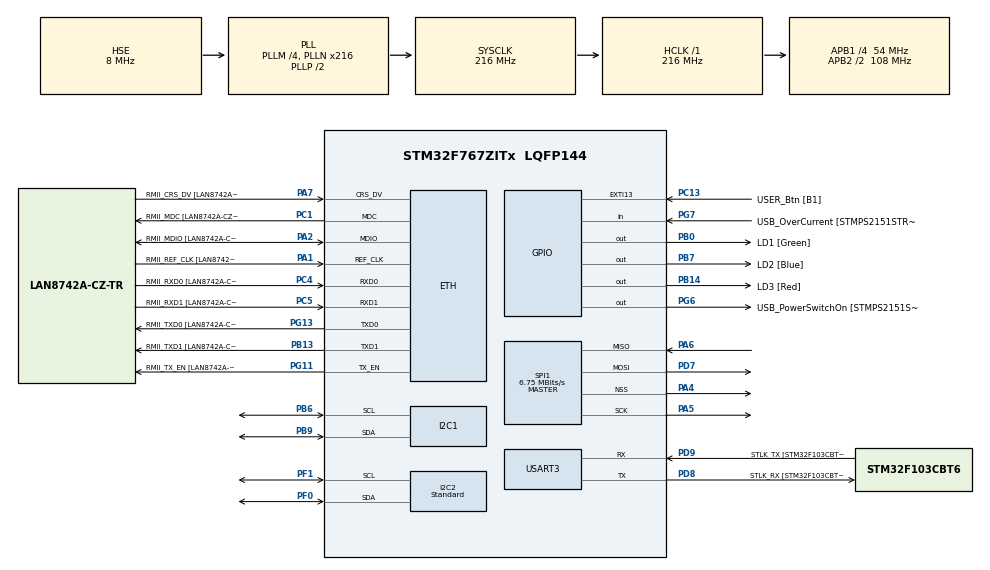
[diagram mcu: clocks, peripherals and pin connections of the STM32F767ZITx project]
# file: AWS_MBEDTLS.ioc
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PD7.Mode=Full_Duplex_Master
VP_MBEDTLS_VS_MBEDTLS.Mode=Enabled
SPI1.VirtualType=VM_MASTER
PB14.GPIO_Label=LD3 [Red]
PG6.GPIO_Label=USB_PowerSwitchOn [STMPS2151STR_EN]
PA14.GPIO_Label=TCK
PC5.Mode=RMII
PB13.Signal=ETH_TXD1
PG13.Signal=ETH_TXD0
RCC.SYSCLKSource=RCC_SYSCLKSOURCE_PLLCLK
LWIP.LWIP_HTTPD=1
USART3.VirtualMode-Asynchronous=VM_ASYNC
PA4.Mode=NSS_Signal_Hard_Output
SPI1.Direction=SPI_DIRECTION_2LINES
I2C2.I2C_Speed_Mode=I2C_Standard
RCC.APB2TimFreq_Value=216000000
PB6.Signal=I2C1_SCL
PH1/OSC_OUT.Signal=RCC_OSC_OUT
PB6.Mode=I2C
SPI1.CalculateBaudRate=6.75 MBits/s
PD8.Signal=USART3_TX
PC4.GPIO_Label=RMII_RXD0 [LAN8742A-CZ-TR_RXD0]
SPI1.DataSize=SPI_DATASIZE_8BIT
PA8.Signal=USB_OTG_FS_SOF
SPI1.VirtualNSS=VM_NSSHARD
ETH.PHY_Name=LAN8742A_PHY_ADDRESS
VP_FREERTOS_VS_CMSIS_V1.Mode=CMSIS_V1
Mcu.Package=LQFP144
PB9.Signal=I2C1_SDA
NVIC.TimeBase=TIM4_IRQn
NVIC.TimeBaseIP=TIM4
PA10.Signal=USB_OTG_FS_ID
RCC.APB2CLKDivider=RCC_HCLK_DIV2
RCC.APB1TimFreq_Value=108000000
PB13.Mode=RMII
PC4.Mode=RMII
PA5.Mode=Full_Duplex_Master
FREERTOS.Tasks01=defaultTask,0,128,StartDefaultTask,Default,NULL,Dynamic,NULL,NULL
PD9.GPIO_Label=STLK_TX [STM32F103CBT6_PA2]
PC13.Signal=GPXTI13
PA9.GPIO_Label=USB_VBUS
PD7.Signal=SPI1_MOSI
PA11.GPIO_Label=USB_DM
RCC.APB1CLKDivider=RCC_HCLK_DIV4
PG13.GPIO_Label=RMII_TXD0 [LAN8742A-CZ-TR_TXD0]
PF1.Mode=I2C
PA8.GPIO_Label=USB_SOF [TP1]
PA9.Signal=USB_OTG_FS_VBUS
I2C1.Timing=0x20404768
PD8.Mode=Asynchronous
PB14.Signal=GPIO_Output
PA5.Signal=SPI1_SCK
PA1.Mode=RMII
RCC.PRESCALERUSB=RCC_USBCLKSOURCE_PLL_DIV1_5
SPI1.Mode=SPI_MODE_MASTER
PG7.GPIO_Label=USB_OverCurrent [STMPS2151STR_FAULT]
PA1.GPIO_Label=RMII_REF_CLK [LAN8742A-CZ-TR_REFCLK0]
PA13.Mode=Serial_Wire
PA4.Signal=SPI1_NSS
ETH.MediaInterface=ETH_MEDIA_INTERFACE_RMII
PG11.Mode=RMII
PA11.Signal=USB_OTG_FS_DM
ProjectManager.HeapSize=0x1000
LWIP.Version=v2.1.2_Cube
VP_SYS_VS_tim4.Mode=TIM4
NVIC.PriorityGroup=NVIC_PRIORITYGROUP_4
PC15/OSC32_OUT.Signal=RCC_OSC32_OUT
PB0.Signal=GPIO_Output
PC1.Signal=ETH_MDC
PC1.Mode=RMII
Mcu.Family=STM32F7
PA6.Mode=Full_Duplex_Master
RCC.CortexFreq_Value=216000000
PG6.Signal=GPIO_Output
RCC.SYSCLKSourceVirtual=RCC_SYSCLKSOURCE_PLLCLK
I2C2.Timing=0x20404768
PB0.GPIO_Label=LD1 [Green]
PC14/OSC32_IN.Mode=LSE-External-Oscillator
PC13.GPIO_Label=USER_Btn [B1]
PB13.GPIO_Label=RMII_TXD1 [LAN8742A-CZ-TR_TXD1]
PD9.Mode=Asynchronous
PG11.Signal=ETH_TX_EN
ProjectManager.StackSize=0x8000
PA12.Signal=USB_OTG_FS_DP
ETH.PHY_Value=0
PH0/OSC_IN.Mode=HSE-External-Clock-Source
RCC.HCLKFreq_Value=216000000
RCC.AHBFreq_Value=216000000
NVIC.ETH_IRQn=true\:5\:0\:false\:false\:true\:true\:false\:true
RCC.HSE_VALUE=8000000
RCC.PLLMUL=RCC_PLL_MUL9
PA14.Mode=Serial_Wire
PA10.GPIO_Label=USB_ID
PB7.Signal=GPIO_Output
PG13.Mode=RMII
PH1/OSC_OUT.Mode=HSE-External-Clock-Source
PB7.GPIO_Label=LD2 [Blue]
PA6.Signal=SPI1_MISO
PC14/OSC32_IN.Signal=RCC_OSC32_IN
PA2.GPIO_Label=RMII_MDIO [LAN8742A-CZ-TR_MDIO]
PG11.GPIO_Label=RMII_TX_EN [LAN8742A-CZ-TR_TXEN]
PF0.Signal=I2C2_SDA
PC5.Signal=ETH_RXD1
SPI1.BaudRatePrescaler=SPI_BAUDRATEPRESCALER_16
PB3.GPIO_Label=SWO
RCC.PLLSourceVirtual=RCC_PLLSOURCE_HSE
CORTEX_M7.CPU_ICache=Enabled
PA7.Mode=RMII
PG7.Signal=GPIO_Input
PC4.Signal=ETH_RXD0
PD9.Signal=USART3_RX
VP_RNG_VS_RNG.Mode=RNG_Activate
ETH.PhyAddress=0
PA12.GPIO_Label=USB_DP
VP_LWIP_VS_Enabled.Mode=Enabled
PD8.GPIO_Label=STLK_RX [STM32F103CBT6_PA3]
PA13.Signal=SYS_JTMS-SWDIO
CORTEX_M7.MPU_Control=MPU_HFNMI_PRIVDEF
ProjectManager.TargetToolchain=TrueSTUDIO
PB9.Mode=I2C
RCC.USBFreq_Value=48000000
PA1.Signal=ETH_REF_CLK
board=NUCLEO-F767ZI
RCC.VCOOutputFreq_Value=432000000
PH0/OSC_IN.Signal=RCC_OSC_IN
RCC.APB2Freq_Value=108000000
PC1.GPIO_Label=RMII_MDC [LAN8742A-CZ-TR_MDC]
PF1.Signal=I2C2_SCL
Mcu.Name=STM32F767ZITx
PA13.GPIO_Label=TMS
PA2.Signal=ETH_MDIO
RCC.48MHZClocksFreq_Value=24000000
PB3.Signal=SYS_JTDO-SWO
RCC.SYSCLKFreq_VALUE=216000000
PA7.GPIO_Label=RMII_CRS_DV [LAN8742A-CZ-TR_CRS_DV]
PC5.GPIO_Label=RMII_RXD1 [LAN8742A-CZ-TR_RXD1]
PC15/OSC32_OUT.Mode=LSE-External-Oscillator
PA14.Signal=SYS_JTCK-SWCLK
PF0.Mode=I2C
RCC.HSI_VALUE=16000000
PH0/OSC_IN.GPIO_Label=MCO [STM32F103CBT6_PA8]
RCC.PLLQ=9
RCC.PLLM=4
RCC.PLLN=216
PA2.Mode=RMII
CORTEX_M7.CPU_DCache=Enabled
NVIC.TIM4_IRQn=true\:0\:0\:false\:false\:true\:false\:false\:true
RCC.APB1Freq_Value=54000000
PA7.Signal=ETH_CRS_DV

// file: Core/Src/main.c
/* USER CODE BEGIN Header */
/**
  ******************************************************************************
  * @file           : main.c
  * @brief          : Main program body
  ******************************************************************************
  * @attention
  *
  * <h2><center>&copy; Copyright (c) 2021 STMicroelectronics.
  * All rights reserved.</center></h2>
  *
  * This software component is licensed by ST under Ultimate Liberty license
  * SLA0044, the "License"; You may not use this file except in compliance with
  * the License. You may obtain a copy of the License at:
  *                             www.st.com/SLA0044
  *
  ******************************************************************************
  */
/* USER CODE END Header */
#include "main.h"
#include "cmsis_os.h"
//#include "mbedtls.h"

I2C_HandleTypeDef hi2c1;
I2C_HandleTypeDef hi2c2;

RNG_HandleTypeDef hrng;

SPI_HandleTypeDef hspi1;

UART_HandleTypeDef huart3;

osThreadId defaultTaskHandle;
/* USER CODE BEGIN PV */
net_hnd_t         hnet; /* Is initialized by cloud_main(). */
static volatile uint8_t button_flags = 0;
/* USER CODE END PV */

void SystemClock_Config(void);
static void MPU_Config(void);
static void MX_GPIO_Init(void);
static void MX_I2C1_Init(void);
static void MX_I2C2_Init(void);
static void MX_RNG_Init(void);
static void MX_SPI1_Init(void);
static void MX_USART3_UART_Init(void);
void StartDefaultTask(void const * argument);

/* USER CODE BEGIN PFP */
static void cloud_test(void const *arg);
RTC_HandleTypeDef hrtc;
extern int net_if_init(void * if_ctxt);
/* USER CODE END PFP */

/* USER CODE BEGIN 0 */
#if (defined(__GNUC__) && !defined(__CC_ARM))
/* With GCC/RAISONANCE, small printf (option LD Linker->Libraries->Small printf
   set to 'Yes') calls __io_putchar() */
#define PUTCHAR_PROTOTYPE int __io_putchar(int ch)
#define GETCHAR_PROTOTYPE int __io_getchar(void)
#else
#define PUTCHAR_PROTOTYPE int fputc(int ch, FILE *f)
#define GETCHAR_PROTOTYPE int fgetc(FILE *f)
#endif /* __GNUC__ */

/**
  * @brief  Retargets the C library printf function to the USART.
  * @param  None
  * @retval None
  */
PUTCHAR_PROTOTYPE
{
  /* Place your implementation of fputc here */
  /* e.g. write a character to the USART2 and Loop until the end of transmission */
  while (HAL_OK != HAL_UART_Transmit(&huart3, (uint8_t *) &ch, 1, 30000))
  {
    ;
  }
  return ch;
}

/**
  * @brief  Retargets the C library scanf function to the USART.
  * @param  None
  * @retval None
  */
GETCHAR_PROTOTYPE
{
  /* Place your implementation of fgetc here */
  /* e.g. read a character on USART and loop until the end of read */
  uint8_t ch = 0;
  while (HAL_OK != HAL_UART_Receive(&huart3, (uint8_t *)&ch, 1, 30000))
  {
    ;
  }
  return ch;
}
void vApplicationMallocFailedHook( void ) {
	char h[40];
    sprintf(h,"malloc failed ����������������n");

    HAL_UART_Transmit(&huart3, (uint8_t *)h, strlen(h), 0xFFFF);

}
void vApplicationStackOverflowHook( TaskHandle_t xTask, signed char *pcTaskName )
{char hw[40];
    sprintf("stack overflow in task id %lu, name: %s ����-n", (uint32_t)xTask, pcTaskName);

    HAL_UART_Transmit(&huart3, (uint8_t *)hw, strlen(hw), 0xFFFF);
}
/* USER CODE END 0 */

int main(void)
{

  /* MPU Configuration--------------------------------------------------------*/
  MPU_Config();

  /* Enable I-Cache---------------------------------------------------------*/
  SCB_EnableICache();

  /* Enable D-Cache---------------------------------------------------------*/
  SCB_EnableDCache();

  /* MCU Configuration--------------------------------------------------------*/

  /* Reset of all peripherals, Initializes the Flash interface and the Systick. */
  HAL_Init();

  /* Configure the system clock */
  SystemClock_Config();

  /* Initialize all configured peripherals */
  MX_GPIO_Init();
  MX_I2C1_Init();
  MX_I2C2_Init();
  MX_RNG_Init();
  MX_SPI1_Init();
  MX_USART3_UART_Init();
 //  aMX_MBEDTLS_Init();

  /* Create the thread(s) */
  /* definition and creation of defaultTask */
  osThreadDef(defaultTask, StartDefaultTask, osPriorityNormal, 0, 10240);
  defaultTaskHandle = osThreadCreate(osThread(defaultTask), NULL);

  /* Start scheduler */
  osKernelStart();

  /* We should never get here as control is now taken by the scheduler */
  /* Infinite loop */
  while (1)
  {

  }
}

void SystemClock_Config(void)
{
  RCC_OscInitTypeDef RCC_OscInitStruct = {0};
  RCC_ClkInitTypeDef RCC_ClkInitStruct = {0};
  RCC_PeriphCLKInitTypeDef PeriphClkInitStruct = {0};

  /** Configure LSE Drive Capability
  */
  HAL_PWR_EnableBkUpAccess();
  /** Configure the main internal regulator output voltage
  */
  __HAL_RCC_PWR_CLK_ENABLE();
  __HAL_PWR_VOLTAGESCALING_CONFIG(PWR_REGULATOR_VOLTAGE_SCALE1);
  /** Initializes the RCC Oscillators according to the specified parameters
  * in the RCC_OscInitTypeDef structure.
  */
  RCC_OscInitStruct.OscillatorType = RCC_OSCILLATORTYPE_HSE;
  RCC_OscInitStruct.HSEState = RCC_HSE_BYPASS;
  RCC_OscInitStruct.PLL.PLLState = RCC_PLL_ON;
  RCC_OscInitStruct.PLL.PLLSource = RCC_PLLSOURCE_HSE;
  RCC_OscInitStruct.PLL.PLLM = 4;
  RCC_OscInitStruct.PLL.PLLN = 216;
  RCC_OscInitStruct.PLL.PLLP = RCC_PLLP_DIV2;
  RCC_OscInitStruct.PLL.PLLQ = 9;
  if (HAL_RCC_OscConfig(&RCC_OscInitStruct) != HAL_OK)
  {
    Error_Handler();
  }
  /** Activate the Over-Drive mode
  */
  if (HAL_PWREx_EnableOverDrive() != HAL_OK)
  {
    Error_Handler();
  }
  /** Initializes the CPU, AHB and APB buses clocks
  */
  RCC_ClkInitStruct.ClockType = RCC_CLOCKTYPE_HCLK|RCC_CLOCKTYPE_SYSCLK
                              |RCC_CLOCKTYPE_PCLK1|RCC_CLOCKTYPE_PCLK2;
  RCC_ClkInitStruct.SYSCLKSource = RCC_SYSCLKSOURCE_PLLCLK;
  RCC_ClkInitStruct.AHBCLKDivider = RCC_SYSCLK_DIV1;
  RCC_ClkInitStruct.APB1CLKDivider = RCC_HCLK_DIV4;
  RCC_ClkInitStruct.APB2CLKDivider = RCC_HCLK_DIV2;

  if (HAL_RCC_ClockConfig(&RCC_ClkInitStruct, FLASH_LATENCY_7) != HAL_OK)
  {
    Error_Handler();
  }
  PeriphClkInitStruct.PeriphClockSelection = RCC_PERIPHCLK_USART3|RCC_PERIPHCLK_I2C1
                              |RCC_PERIPHCLK_I2C2|RCC_PERIPHCLK_CLK48;
  PeriphClkInitStruct.Usart3ClockSelection = RCC_USART3CLKSOURCE_PCLK1;
  PeriphClkInitStruct.I2c1ClockSelection = RCC_I2C1CLKSOURCE_PCLK1;
  PeriphClkInitStruct.I2c2ClockSelection = RCC_I2C2CLKSOURCE_PCLK1;
  PeriphClkInitStruct.Clk48ClockSelection = RCC_CLK48SOURCE_PLL;
  if (HAL_RCCEx_PeriphCLKConfig(&PeriphClkInitStruct) != HAL_OK)
  {
    Error_Handler();
  }
}

static void MX_I2C1_Init(void)
{

  hi2c1.Instance = I2C1;
  hi2c1.Init.Timing = 0x20404768;
  hi2c1.Init.OwnAddress1 = 0;
  hi2c1.Init.AddressingMode = I2C_ADDRESSINGMODE_7BIT;
  hi2c1.Init.DualAddressMode = I2C_DUALADDRESS_DISABLE;
  hi2c1.Init.OwnAddress2 = 0;
  hi2c1.Init.OwnAddress2Masks = I2C_OA2_NOMASK;
  hi2c1.Init.GeneralCallMode = I2C_GENERALCALL_DISABLE;
  hi2c1.Init.NoStretchMode = I2C_NOSTRETCH_DISABLE;
  if (HAL_I2C_Init(&hi2c1) != HAL_OK)
  {
    Error_Handler();
  }
  /** Configure Analogue filter
  */
  if (HAL_I2CEx_ConfigAnalogFilter(&hi2c1, I2C_ANALOGFILTER_ENABLE) != HAL_OK)
  {
    Error_Handler();
  }
  /** Configure Digital filter
  */
  if (HAL_I2CEx_ConfigDigitalFilter(&hi2c1, 0) != HAL_OK)
  {
    Error_Handler();
  }

}

static void MX_I2C2_Init(void)
{

  hi2c2.Instance = I2C2;
  hi2c2.Init.Timing = 0x20404768;
  hi2c2.Init.OwnAddress1 = 0;
  hi2c2.Init.AddressingMode = I2C_ADDRESSINGMODE_7BIT;
  hi2c2.Init.DualAddressMode = I2C_DUALADDRESS_DISABLE;
  hi2c2.Init.OwnAddress2 = 0;
  hi2c2.Init.OwnAddress2Masks = I2C_OA2_NOMASK;
  hi2c2.Init.GeneralCallMode = I2C_GENERALCALL_DISABLE;
  hi2c2.Init.NoStretchMode = I2C_NOSTRETCH_DISABLE;
  if (HAL_I2C_Init(&hi2c2) != HAL_OK)
  {
    Error_Handler();
  }
  /** Configure Analogue filter
  */
  if (HAL_I2CEx_ConfigAnalogFilter(&hi2c2, I2C_ANALOGFILTER_ENABLE) != HAL_OK)
  {
    Error_Handler();
  }
  /** Configure Digital filter
  */
  if (HAL_I2CEx_ConfigDigitalFilter(&hi2c2, 0) != HAL_OK)
  {
    Error_Handler();
  }

}

static void MX_RNG_Init(void)
{

  hrng.Instance = RNG;
  if (HAL_RNG_Init(&hrng) != HAL_OK)
  {
    Error_Handler();
  }

}

static void MX_SPI1_Init(void)
{

  /* SPI1 parameter configuration*/
  hspi1.Instance = SPI1;
  hspi1.Init.Mode = SPI_MODE_MASTER;
  hspi1.Init.Direction = SPI_DIRECTION_2LINES;
  hspi1.Init.DataSize = SPI_DATASIZE_8BIT;
  hspi1.Init.CLKPolarity = SPI_POLARITY_LOW;
  hspi1.Init.CLKPhase = SPI_PHASE_1EDGE;
  hspi1.Init.NSS = SPI_NSS_HARD_OUTPUT;
  hspi1.Init.BaudRatePrescaler = SPI_BAUDRATEPRESCALER_16;
  hspi1.Init.FirstBit = SPI_FIRSTBIT_MSB;
  hspi1.Init.TIMode = SPI_TIMODE_DISABLE;
  hspi1.Init.CRCCalculation = SPI_CRCCALCULATION_DISABLE;
  hspi1.Init.CRCPolynomial = 7;
  hspi1.Init.CRCLength = SPI_CRC_LENGTH_DATASIZE;
  hspi1.Init.NSSPMode = SPI_NSS_PULSE_ENABLE;
  if (HAL_SPI_Init(&hspi1) != HAL_OK)
  {
    Error_Handler();
  }

}

static void MX_USART3_UART_Init(void)
{

  huart3.Instance = USART3;
  huart3.Init.BaudRate = 115200;
  huart3.Init.WordLength = UART_WORDLENGTH_8B;
  huart3.Init.StopBits = UART_STOPBITS_1;
  huart3.Init.Parity = UART_PARITY_NONE;
  huart3.Init.Mode = UART_MODE_TX_RX;
  huart3.Init.HwFlowCtl = UART_HWCONTROL_NONE;
  huart3.Init.OverSampling = UART_OVERSAMPLING_16;
  huart3.Init.OneBitSampling = UART_ONE_BIT_SAMPLE_DISABLE;
  huart3.AdvancedInit.AdvFeatureInit = UART_ADVFEATURE_NO_INIT;
  if (HAL_UART_Init(&huart3) != HAL_OK)
  {
    Error_Handler();
  }

}

static void MX_GPIO_Init(void)
{
  GPIO_InitTypeDef GPIO_InitStruct = {0};

  /* GPIO Ports Clock Enable */
  __HAL_RCC_GPIOC_CLK_ENABLE();
  __HAL_RCC_GPIOF_CLK_ENABLE();
  __HAL_RCC_GPIOH_CLK_ENABLE();
  __HAL_RCC_GPIOA_CLK_ENABLE();
  __HAL_RCC_GPIOB_CLK_ENABLE();
  __HAL_RCC_GPIOD_CLK_ENABLE();
  __HAL_RCC_GPIOG_CLK_ENABLE();

  /*Configure GPIO pin Output Level */
  HAL_GPIO_WritePin(GPIOB, LD1_Pin|LD3_Pin|LD2_Pin, GPIO_PIN_RESET);

  /*Configure GPIO pin Output Level */
  HAL_GPIO_WritePin(USB_PowerSwitchOn_GPIO_Port, USB_PowerSwitchOn_Pin, GPIO_PIN_RESET);

  /*Configure GPIO pin : USER_Btn_Pin */
  GPIO_InitStruct.Pin = USER_Btn_Pin;
  GPIO_InitStruct.Mode = GPIO_MODE_IT_RISING;
  GPIO_InitStruct.Pull = GPIO_NOPULL;
  HAL_GPIO_Init(USER_Btn_GPIO_Port, &GPIO_InitStruct);

  /*Configure GPIO pins : LD1_Pin LD3_Pin LD2_Pin */
  GPIO_InitStruct.Pin = LD1_Pin|LD3_Pin|LD2_Pin;
  GPIO_InitStruct.Mode = GPIO_MODE_OUTPUT_PP;
  GPIO_InitStruct.Pull = GPIO_NOPULL;
  GPIO_InitStruct.Speed = GPIO_SPEED_FREQ_LOW;
  HAL_GPIO_Init(GPIOB, &GPIO_InitStruct);

  /*Configure GPIO pin : USB_PowerSwitchOn_Pin */
  GPIO_InitStruct.Pin = USB_PowerSwitchOn_Pin;
  GPIO_InitStruct.Mode = GPIO_MODE_OUTPUT_PP;
  GPIO_InitStruct.Pull = GPIO_NOPULL;
  GPIO_InitStruct.Speed = GPIO_SPEED_FREQ_LOW;
  HAL_GPIO_Init(USB_PowerSwitchOn_GPIO_Port, &GPIO_InitStruct);

  /*Configure GPIO pin : USB_OverCurrent_Pin */
  GPIO_InitStruct.Pin = USB_OverCurrent_Pin;
  GPIO_InitStruct.Mode = GPIO_MODE_INPUT;
  GPIO_InitStruct.Pull = GPIO_NOPULL;
  HAL_GPIO_Init(USB_OverCurrent_GPIO_Port, &GPIO_InitStruct);

  /*Configure GPIO pins : USB_SOF_Pin USB_ID_Pin USB_DM_Pin USB_DP_Pin */
  GPIO_InitStruct.Pin = USB_SOF_Pin|USB_ID_Pin|USB_DM_Pin|USB_DP_Pin;
  GPIO_InitStruct.Mode = GPIO_MODE_AF_PP;
  GPIO_InitStruct.Pull = GPIO_NOPULL;
  GPIO_InitStruct.Speed = GPIO_SPEED_FREQ_VERY_HIGH;
  GPIO_InitStruct.Alternate = GPIO_AF10_OTG_FS;
  HAL_GPIO_Init(GPIOA, &GPIO_InitStruct);

  /*Configure GPIO pin : USB_VBUS_Pin */
  GPIO_InitStruct.Pin = USB_VBUS_Pin;
  GPIO_InitStruct.Mode = GPIO_MODE_INPUT;
  GPIO_InitStruct.Pull = GPIO_NOPULL;
  HAL_GPIO_Init(USB_VBUS_GPIO_Port, &GPIO_InitStruct);

}

/* USER CODE BEGIN 4 */
void Led_SetState(bool on)
{
  if (on == true)
  {
   HAL_GPIO_WritePin(LD2_GPIO_Port,LD2_Pin,GPIO_PIN_SET);
  }
  else
  {
   HAL_GPIO_WritePin(LD2_GPIO_Port,LD2_Pin,GPIO_PIN_RESET);
  }
}
/**
 * @brief Blink LED for 'count' cycles of 'period' period and 'duty' ON duration.
 * duty < 0 tells to start with an OFF state.
 */
void Led_Blink(int period, int duty, int count)
{
  if ( (duty > 0) && (period >= duty) )
  {
    /*  Shape:   ____
                  on |_off__ */
    do
    {
      Led_SetState(true);
      HAL_Delay(duty);
      Led_SetState(false);
      HAL_Delay(period - duty);
    } while (count--);
  }
  if ( (duty < 0) && (period >= -duty) )
  {
    /*  Shape:         ____
                __off_| on   */
    do
    {
      Led_SetState(false);
      HAL_Delay(period + duty);
      Led_SetState(true);
      HAL_Delay(-duty);
    } while (count--);
  }
}
uint8_t Button_WaitForPush(uint32_t delay)
{
  uint32_t time_out = HAL_GetTick()+delay;
  do
  {
    if (button_flags > 1)
    {
      button_flags = 0;
      return BP_MULTIPLE_PUSH;
    }

    if (button_flags == 1)
    {
      button_flags = 0;
      return BP_SINGLE_PUSH;
    }
  }
  while( HAL_GetTick() < time_out);
  return BP_NOT_PUSHED;
}
static void Button_ISR(void)
{
  button_flags++;
}
uint8_t Button_WaitForMultiPush(uint32_t delay)
{
  HAL_Delay(delay);
  if (button_flags > 1)
  {
    button_flags = 0;
    return BP_MULTIPLE_PUSH;
  }

  if (button_flags == 1)
  {
    button_flags = 0;
    return BP_SINGLE_PUSH;
  }
  return BP_NOT_PUSHED;
}
static void cloud_test(void const *arg)
{
  platform_init();
  subscribe_publish_sensor_values();
  platform_deinit();
}
/* USER CODE END 4 */

void StartDefaultTask(void const * argument)
{
  /* USER CODE BEGIN 5 */
	int u;
	 UNUSED(argument);
	 //printf("hello world \n\r");
	 // msg_info("\r\n Starting Main Thread...\n");
	  u=net_init(&hnet, NET_IF, (net_if_init));
	  printf("u=%d \n\r", u);
	  httpd_init();
//	  osThreadDef(CLOUDNAME, &cloud_test, osPriorityNormal, 0, configMINIMAL_STACK_SIZE + 0x1000);
//	  osThreadCreate (osThread(CLOUDNAME), NULL);
  /* Infinite loop */
  for(;;)
  {
	    //osThreadTerminate(NULL);
  }
  /* USER CODE END 5 */
}

/* MPU Configuration */

void MPU_Config(void)
{

	/* Disables the MPU */
	MPU_Region_InitTypeDef MPU_InitStruct;
	/* Disable the MPU */
	HAL_MPU_Disable();
	/* Configure the MPU as Normal Non Cacheable for Ethernet Buffers in the SRAM2 */
	MPU_InitStruct.Enable = MPU_REGION_ENABLE;
	MPU_InitStruct.BaseAddress = 0x2007C000;
	MPU_InitStruct.Size = MPU_REGION_SIZE_16KB;
	MPU_InitStruct.AccessPermission = MPU_REGION_FULL_ACCESS;
	MPU_InitStruct.IsBufferable = MPU_ACCESS_NOT_BUFFERABLE;
	MPU_InitStruct.IsCacheable = MPU_ACCESS_NOT_CACHEABLE;
	MPU_InitStruct.IsShareable = MPU_ACCESS_SHAREABLE;
	MPU_InitStruct.Number = MPU_REGION_NUMBER0;
	MPU_InitStruct.TypeExtField = MPU_TEX_LEVEL1;
	MPU_InitStruct.SubRegionDisable = 0x00;
	MPU_InitStruct.DisableExec = MPU_INSTRUCTION_ACCESS_ENABLE;
	HAL_MPU_ConfigRegion(&MPU_InitStruct);
	/* Configure the MPU as Device for Ethernet Descriptors in the SRAM2 */
	MPU_InitStruct.Enable = MPU_REGION_ENABLE;
	MPU_InitStruct.BaseAddress = 0x2007C000;
	MPU_InitStruct.Size = MPU_REGION_SIZE_256B;
	MPU_InitStruct.AccessPermission = MPU_REGION_FULL_ACCESS;
	MPU_InitStruct.IsBufferable = MPU_ACCESS_BUFFERABLE;
	MPU_InitStruct.IsCacheable = MPU_ACCESS_NOT_CACHEABLE;
	MPU_InitStruct.IsShareable = MPU_ACCESS_SHAREABLE;
	MPU_InitStruct.Number = MPU_REGION_NUMBER1;
	MPU_InitStruct.TypeExtField = MPU_TEX_LEVEL0;
	MPU_InitStruct.SubRegionDisable = 0x00;
	MPU_InitStruct.DisableExec = MPU_INSTRUCTION_ACCESS_ENABLE;
	HAL_MPU_ConfigRegion(&MPU_InitStruct);
				  /* Enable the MPU */
	HAL_MPU_Enable(MPU_PRIVILEGED_DEFAULT);

}
void HAL_TIM_PeriodElapsedCallback(TIM_HandleTypeDef *htim)
{
  if (htim->Instance == TIM4) {
    HAL_IncTick();
  }
}

void Error_Handler(void)
{
  __disable_irq();
  while (1)
  {
  }
}

/************************ (C) COPYRIGHT STMicroelectronics *****END OF FILE****/
